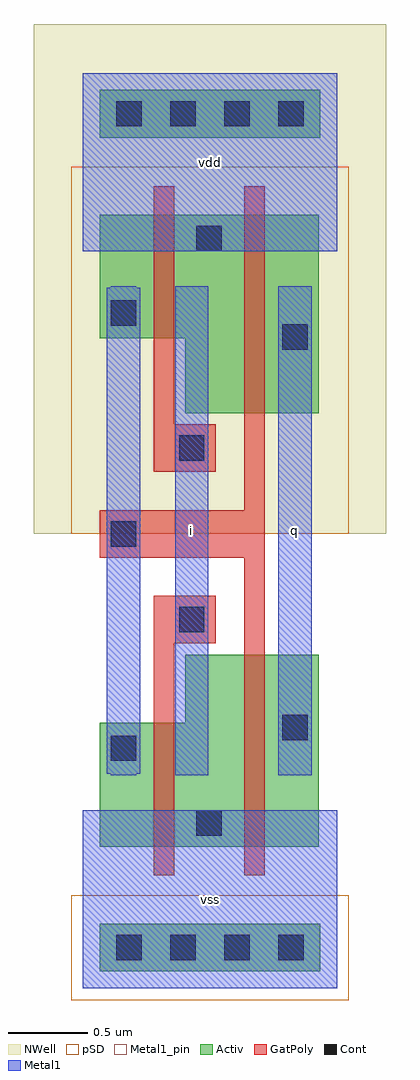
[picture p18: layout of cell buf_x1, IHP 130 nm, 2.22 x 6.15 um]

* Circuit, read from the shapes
.subckt buf_x1 i q vdd vss
XM1 vss i n1 vss sg13_lv_nmos w=0.78u l=0.13u
XM2 q n1 vss vss sg13_lv_nmos w=1.21u l=0.13u
XM3 vdd i n1 vdd sg13_lv_pmos w=0.78u l=0.13u
XM4 q n1 vdd vdd sg13_lv_pmos w=1.25u l=0.13u
.ends

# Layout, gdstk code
import gdstk
lib = gdstk.Library(unit=1e-6, precision=1e-09)
def R(c, l, rs):  # rectangles x0, y0, x1, y1
    for r in rs: c.add(gdstk.rectangle(r[:2], r[2:], *l))
def A(c, l, x, y, w, h, nx, ny, dx, dy):  # array of equal rectangles
    R(c, l, [(x+i*dx, y+j*dy, x+i*dx+w, y+j*dy+h) for i in range(nx) for j in range(ny)])
def P(c, l, *ps):  # polygons
    for p in ps: c.add(gdstk.Polygon(p, *l))
Activ = (1, 0)
GatPoly = (5, 0)
Cont = (6, 0)
Metal1 = (8, 0)
Metal1_pin = (8, 2)
pSD = (14, 0)
NWell = (31, 0)

buf_x1 = lib.new_cell('buf_x1')
R(buf_x1, Activ, [(0.105,0.105,1.495,0.405), (0.105,5.355,1.495,5.655)])
P(buf_x1, Activ, [(0.645,3.62),(0.645,4.09),(0.105,4.09),(0.105,4.87),(1.485,4.87),(1.485,3.62)],
  [(0.105,0.89),(0.105,1.67),(0.645,1.67),(0.645,2.1),(1.485,2.1),(1.485,0.89)])
P(buf_x1, GatPoly, [(1.015,0.71),(1.015,2.71),(0.105,2.71),(0.105,3.01),(1.015,3.01),(1.015,5.05),(1.145,5.05),(1.145,0.71)],
  [(0.445,3.25),(0.445,5.05),(0.575,5.05),(0.575,3.55),(0.835,3.55),(0.835,3.25)],
  [(0.445,0.71),(0.445,2.47),(0.835,2.47),(0.835,2.17),(0.575,2.17),(0.575,0.71)])
A(buf_x1, Cont, 0.21, 0.175, 0.16, 0.16, 4, 2, 0.34, 5.25)
R(buf_x1, Cont, [(0.715,0.96,0.875,1.12), (0.175,1.43,0.335,1.59), (1.255,1.56,1.415,1.72), (0.605,2.24,0.765,2.4), (0.175,2.78,0.335,2.94), (0.605,3.32,0.765,3.48), (1.255,4.02,1.415,4.18), (0.175,4.17,0.335,4.33), (0.715,4.64,0.875,4.8)])
R(buf_x1, Metal1, [(0,0,1.6,1.12), (0.58,1.34,0.79,4.42), (1.23,1.34,1.44,4.42), (0,4.64,1.6,5.76)])
P(buf_x1, Metal1, [(0.175,1.34),(0.175,1.35),(0.15,1.35),(0.15,4.41),(0.175,4.41),(0.175,4.42),(0.335,4.42),(0.335,4.41),(0.36,4.41),(0.36,1.35),(0.335,1.35),(0.335,1.34)])
R(buf_x1, Metal1_pin, [(0,0,1.6,1.12), (0.58,1.34,0.79,4.42), (1.23,1.34,1.44,4.42), (0,4.64,1.6,5.76)])
R(buf_x1, pSD, [(-0.075,-0.075,1.675,0.585), (-0.075,2.86,1.675,5.17)])
R(buf_x1, NWell, [(-0.31,2.86,1.91,6.07)])
buf_x1.add(gdstk.Label('vdd', (0.8,5.2), layer=8, texttype=2))
buf_x1.add(gdstk.Label('vss', (0.8,0.56), layer=8, texttype=2))
buf_x1.add(gdstk.Label('i', (0.685,2.88), layer=8, texttype=2))
buf_x1.add(gdstk.Label('q', (1.335,2.88), layer=8, texttype=2))

lib.write_gds('buf_x1.gds')
